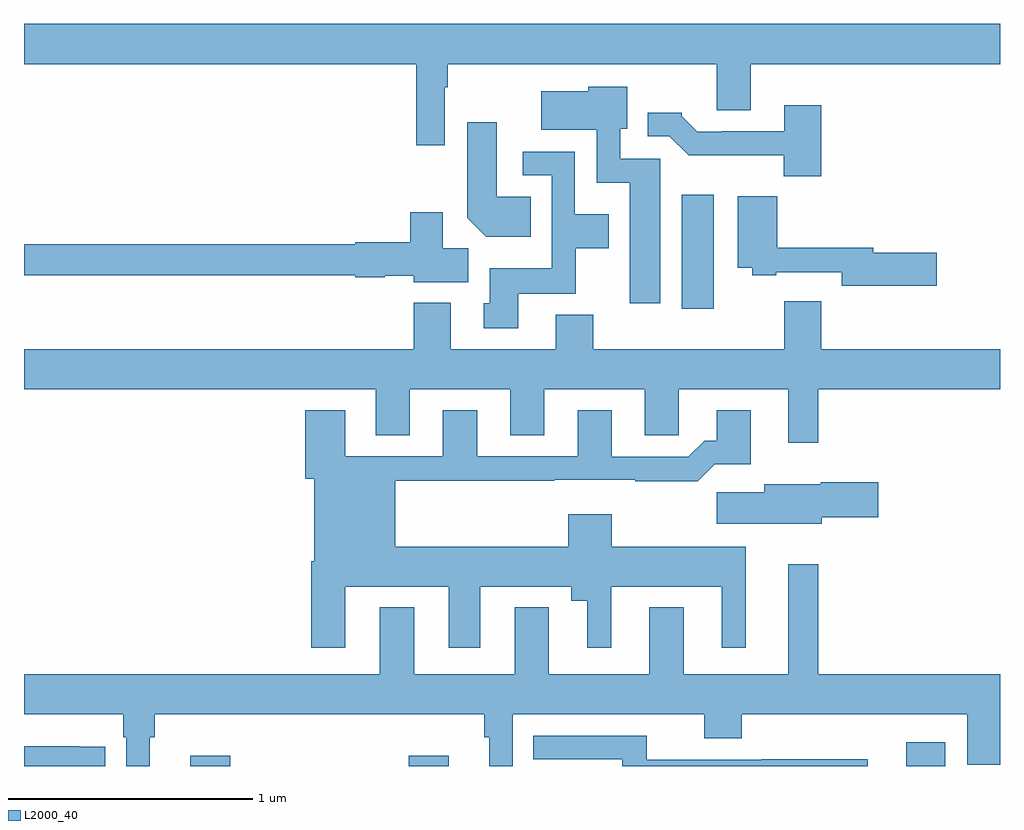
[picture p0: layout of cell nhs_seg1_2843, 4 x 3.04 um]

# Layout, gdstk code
import gdstk
lib = gdstk.Library(unit=1e-6, precision=1e-09)
def R(c, l, rs):  # rectangles x0, y0, x1, y1
    for r in rs: c.add(gdstk.rectangle(r[:2], r[2:], *l))
def P(c, l, *ps):  # polygons
    for p in ps: c.add(gdstk.Polygon(p, *l))
L2000_40 = (2000, 40)

nhs_seg1_2843 = lib.new_cell('nhs_seg1_2843')
R(nhs_seg1_2843, L2000_40, [(265.682,538.199,265.846,538.24), (266.576,538.199,266.74,538.24), (268.615,538.199,268.776,538.297), (267.695,540.072,267.826,540.541)])
P(nhs_seg1_2843, L2000_40, [(266.724,540.98),(266.737,540.98),(266.737,541.076),(267.839,541.076),(267.839,540.886),(267.979,540.886),(267.979,541.076),(269,541.076),(269,541.24),(265,541.24),(265,541.076),(266.608,541.076),(266.608,540.744),(266.724,540.744)],
  [(267.607,540.687),(267.444,540.687),(267.444,540.81),(267.472,540.81),(267.472,540.982),(267.312,540.982),(267.312,540.964),(267.12,540.964),(267.12,540.806),(267.348,540.806),(267.348,540.59),(267.482,540.59),(267.482,540.096),(267.607,540.096)],
  [(268.268,540.907),(268.115,540.907),(268.115,540.801),(267.859,540.801),(267.859,540.798),(267.76,540.798),(267.696,540.862),(267.696,540.877),(267.557,540.877),(267.557,540.78),(267.645,540.78),(267.724,540.702),(268.113,540.702),(268.113,540.617),(268.268,540.617)],
  [(267.077,540.532),(266.938,540.532),(266.938,540.838),(266.816,540.838),(266.816,540.446),(266.894,540.368),(267.077,540.368)],
  [(267.025,540.134),(267.261,540.134),(267.261,540.32),(267.397,540.32),(267.397,540.46),(267.258,540.46),(267.258,540.717),(267.045,540.717),(267.045,540.621),(267.162,540.621),(267.162,540.238),(266.909,540.238),(266.909,540.096),(266.885,540.096),(266.885,539.994),(267.025,539.994)],
  [(268.741,540.302),(268.48,540.302),(268.48,540.323),(268.088,540.323),(268.088,540.535),(267.926,540.535),(267.926,540.242),(267.984,540.242),(267.984,540.21),(268.084,540.21),(268.084,540.222),(268.352,540.222),(268.352,540.167),(268.741,540.167)],
  [(266.821,540.32),(266.716,540.32),(266.716,540.469),(266.582,540.469),(266.582,540.346),(266.358,540.346),(266.358,540.338),(265,540.338),(265,540.21),(266.358,540.21),(266.358,540.202),(266.478,540.202),(266.478,540.209),(266.598,540.209),(266.598,540.182),(266.821,540.182)],
  [(268.255,539.744),(269,539.744),(269,539.908),(268.268,539.908),(268.268,540.103),(268.115,540.103),(268.115,539.908),(267.332,539.908),(267.332,540.049),(267.179,540.049),(267.179,539.908),(266.749,539.908),(266.749,540.097),(266.597,540.097),(266.597,539.908),(265,539.908),(265,539.744),(266.441,539.744),(266.441,539.554),(266.581,539.554),(266.581,539.744),(266.993,539.744),(266.993,539.554),(267.133,539.554),(267.133,539.744),(267.545,539.744),(267.545,539.554),(267.684,539.554),(267.684,539.744),(268.133,539.744),(268.133,539.523),(268.255,539.523)],
  [(266.317,538.934),(266.741,538.934),(266.741,538.683),(266.869,538.683),(266.869,538.934),(267.242,538.934),(267.242,538.877),(267.308,538.877),(267.308,538.683),(267.406,538.683),(267.406,538.934),(267.86,538.934),(267.86,538.683),(267.958,538.683),(267.958,539.098),(267.408,539.098),(267.408,539.23),(267.23,539.23),(267.23,539.098),(266.521,539.098),(266.521,539.368),(267.173,539.368),(267.173,539.372),(267.505,539.372),(267.505,539.366),(267.761,539.366),(267.83,539.435),(267.979,539.435),(267.979,539.656),(267.839,539.656),(267.839,539.533),(267.79,539.533),(267.723,539.466),(267.409,539.466),(267.409,539.656),(267.269,539.656),(267.269,539.469),(266.857,539.469),(266.857,539.656),(266.717,539.656),(266.717,539.469),(266.317,539.469),(266.317,539.656),(266.153,539.656),(266.153,539.376),(266.189,539.376),(266.189,539.038),(266.177,539.038),(266.177,538.683),(266.317,538.683)],
  [(268.27,539.219),(268.501,539.219),(268.501,539.361),(268.266,539.361),(268.266,539.353),(268.034,539.353),(268.034,539.321),(267.84,539.321),(267.84,539.192),(268.27,539.192)],
  [(265.516,538.316),(265.535,538.316),(265.535,538.412),(266.887,538.412),(266.887,538.316),(266.906,538.316),(266.906,538.199),(267.003,538.199),(267.003,538.412),(267.788,538.412),(267.788,538.313),(267.941,538.313),(267.941,538.412),(268.865,538.412),(268.865,538.204),(269,538.204),(269,538.576),(268.255,538.576),(268.255,539.026),(268.133,539.026),(268.133,538.576),(267.703,538.576),(267.703,538.849),(267.563,538.849),(267.563,538.576),(267.151,538.576),(267.151,538.849),(267.011,538.849),(267.011,538.576),(266.599,538.576),(266.599,538.849),(266.459,538.849),(266.459,538.576),(265,538.576),(265,538.412),(265.406,538.412),(265.406,538.316),(265.419,538.316),(265.419,538.199),(265.516,538.199)],
  [(268.458,538.226),(268.024,538.226),(268.024,538.224),(267.552,538.224),(267.552,538.323),(267.088,538.323),(267.088,538.227),(267.452,538.227),(267.452,538.199),(268.458,538.199)],
  [(265.334,538.278),(265.226,538.278),(265.226,538.279),(265,538.279),(265,538.199),(265.334,538.199)])

lib.write_gds('nhs_seg1_2843.gds')
